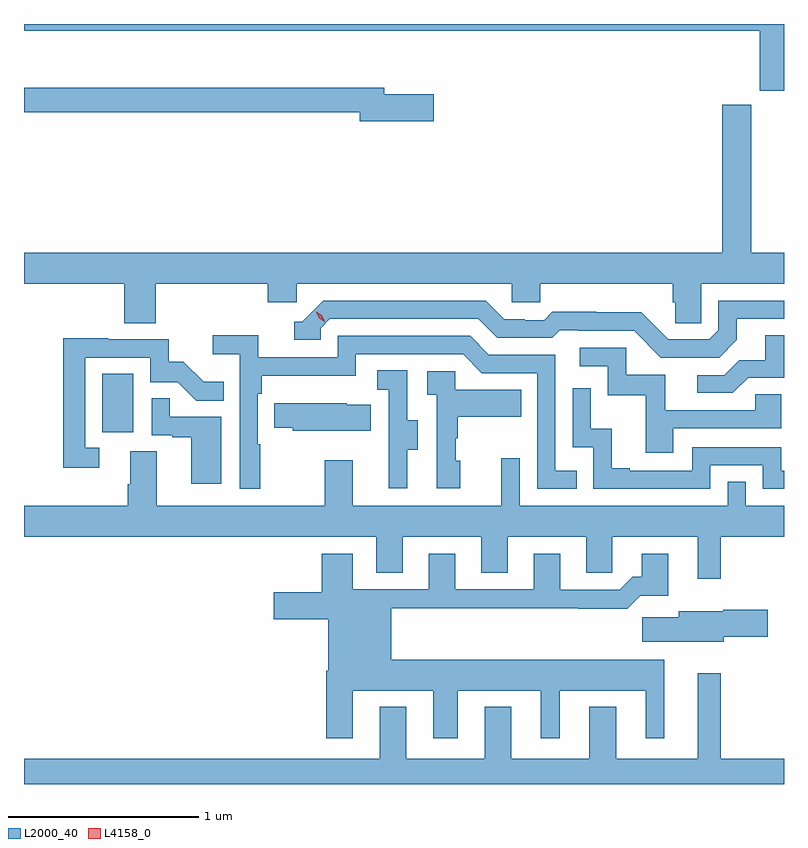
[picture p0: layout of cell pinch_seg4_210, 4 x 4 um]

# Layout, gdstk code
import gdstk
lib = gdstk.Library(unit=1e-6, precision=1e-09)
def R(c, l, rs):  # rectangles x0, y0, x1, y1
    for r in rs: c.add(gdstk.rectangle(r[:2], r[2:], *l))
def P(c, l, *ps):  # polygons
    for p in ps: c.add(gdstk.Polygon(p, *l))
L2000_40 = (2000, 40)
L4158_0 = (4158, 0)

pinch_seg4_210 = lib.new_cell('pinch_seg4_210')
R(pinch_seg4_210, L2000_40, [(1008.698,822.678,1008.862,822.985)])
P(pinch_seg4_210, L2000_40, [(1012.287,824.827),(1008.287,824.827),(1008.287,824.792),(1012.16,824.792),(1012.16,824.475),(1012.287,824.475)],
  [(1010.443,824.457),(1010.182,824.457),(1010.182,824.491),(1008.287,824.491),(1008.287,824.362),(1010.054,824.362),(1010.054,824.315),(1010.443,824.315)],
  [(1008.98,823.46),(1009.571,823.46),(1009.571,823.362),(1009.722,823.362),(1009.722,823.46),(1010.853,823.46),(1010.853,823.362),(1011.003,823.362),(1011.003,823.46),(1011.701,823.46),(1011.701,823.362),(1011.715,823.362),(1011.715,823.252),(1011.852,823.252),(1011.852,823.46),(1012.287,823.46),(1012.287,823.624),(1012.114,823.624),(1012.114,824.403),(1011.962,824.403),(1011.962,823.624),(1008.287,823.624),(1008.287,823.46),(1008.815,823.46),(1008.815,823.252),(1008.98,823.252)],
  [(1012.039,823.165),(1012.039,823.275),(1012.287,823.275),(1012.287,823.371),(1011.942,823.371),(1011.942,823.215),(1011.894,823.167),(1011.678,823.167),(1011.536,823.309),(1011.3,823.309),(1011.3,823.312),(1011.067,823.312),(1011.025,823.269),(1010.922,823.269),(1010.922,823.272),(1010.815,823.272),(1010.716,823.371),(1009.863,823.371),(1009.752,823.26),(1009.709,823.26),(1009.709,823.164),(1009.848,823.164),(1009.848,823.227),(1009.896,823.275),(1010.679,823.275),(1010.778,823.176),(1011.067,823.176),(1011.106,823.215),(1011.205,823.215),(1011.205,823.212),(1011.498,823.212),(1011.639,823.071),(1011.945,823.071)],
  [(1009.531,822.614),(1009.518,822.614),(1009.518,822.881),(1009.538,822.881),(1009.538,822.977),(1010.034,822.977),(1010.034,823.089),(1010.598,823.089),(1010.697,822.99),(1010.988,822.99),(1010.988,822.381),(1011.197,822.381),(1011.197,822.477),(1011.084,822.477),(1011.084,823.086),(1010.734,823.086),(1010.635,823.185),(1009.938,823.185),(1009.938,823.074),(1009.52,823.074),(1009.52,823.19),(1009.281,823.19),(1009.281,823.088),(1009.422,823.088),(1009.422,822.381),(1009.531,822.381)],
  [(1012.099,822.966),(1012.287,822.966),(1012.287,823.19),(1012.187,823.19),(1012.187,823.058),(1012.052,823.058),(1011.972,822.978),(1011.831,822.978),(1011.831,822.885),(1012.018,822.885)],
  [(1008.682,822.597),(1008.609,822.597),(1008.609,823.071),(1008.951,823.071),(1008.951,822.942),(1009.095,822.942),(1009.193,822.844),(1009.337,822.844),(1009.337,822.943),(1009.233,822.943),(1009.126,823.05),(1009.05,823.05),(1009.05,823.167),(1008.731,823.167),(1008.731,823.172),(1008.493,823.172),(1008.493,822.492),(1008.682,822.492)],
  [(1011.703,822.699),(1012.272,822.699),(1012.272,822.879),(1012.135,822.879),(1012.135,822.795),(1011.661,822.795),(1011.661,822.981),(1011.456,822.981),(1011.456,823.122),(1011.213,823.122),(1011.213,823.026),(1011.36,823.026),(1011.36,822.873),(1011.559,822.873),(1011.559,822.57),(1011.703,822.57)],
  [(1010.305,822.586),(1010.359,822.586),(1010.359,822.741),(1010.304,822.741),(1010.304,823.004),(1010.145,823.004),(1010.145,822.901),(1010.208,822.901),(1010.208,822.597),(1010.207,822.597),(1010.207,822.384),(1010.305,822.384)],
  [(1010.584,822.528),(1010.559,822.528),(1010.559,822.647),(1010.569,822.647),(1010.569,822.761),(1010.903,822.761),(1010.903,822.901),(1010.556,822.901),(1010.556,822.999),(1010.409,822.999),(1010.409,822.875),(1010.46,822.875),(1010.46,822.384),(1010.584,822.384)],
  [(1011.9,822.504),(1012.176,822.504),(1012.176,822.381),(1012.287,822.381),(1012.287,822.477),(1012.272,822.477),(1012.272,822.6),(1011.804,822.6),(1011.804,822.477),(1011.475,822.477),(1011.475,822.49),(1011.38,822.49),(1011.38,822.698),(1011.27,822.698),(1011.27,822.91),(1011.174,822.91),(1011.174,822.6),(1011.282,822.6),(1011.282,822.381),(1011.9,822.381)],
  [(1009.324,822.759),(1009.055,822.759),(1009.055,822.857),(1008.96,822.857),(1008.96,822.663),(1009.067,822.663),(1009.067,822.651),(1009.166,822.651),(1009.166,822.408),(1009.324,822.408)],
  [(1010.111,822.823),(1009.986,822.823),(1009.986,822.832),(1009.603,822.832),(1009.603,822.703),(1009.701,822.703),(1009.701,822.686),(1010.111,822.686)],
  [(1011.955,822.128),(1012.287,822.128),(1012.287,822.292),(1012.086,822.292),(1012.086,822.419),(1011.99,822.419),(1011.99,822.292),(1010.895,822.292),(1010.895,822.541),(1010.798,822.541),(1010.798,822.292),(1010.017,822.292),(1010.017,822.532),(1009.87,822.532),(1009.87,822.292),(1008.985,822.292),(1008.985,822.578),(1008.845,822.578),(1008.845,822.404),(1008.833,822.404),(1008.833,822.292),(1008.287,822.292),(1008.287,822.128),(1010.141,822.128),(1010.141,821.938),(1010.281,821.938),(1010.281,822.128),(1010.693,822.128),(1010.693,821.938),(1010.833,821.938),(1010.833,822.128),(1011.245,822.128),(1011.245,821.938),(1011.384,821.938),(1011.384,822.128),(1011.833,822.128),(1011.833,821.907),(1011.955,821.907)],
  [(1010.017,821.318),(1010.441,821.318),(1010.441,821.067),(1010.569,821.067),(1010.569,821.318),(1011.008,821.318),(1011.008,821.067),(1011.106,821.067),(1011.106,821.318),(1011.56,821.318),(1011.56,821.067),(1011.658,821.067),(1011.658,821.482),(1010.221,821.482),(1010.221,821.752),(1011.205,821.752),(1011.205,821.75),(1011.461,821.75),(1011.53,821.819),(1011.679,821.819),(1011.679,822.04),(1011.539,822.04),(1011.539,821.917),(1011.49,821.917),(1011.423,821.85),(1011.109,821.85),(1011.109,822.04),(1010.969,822.04),(1010.969,821.853),(1010.557,821.853),(1010.557,822.04),(1010.417,822.04),(1010.417,821.853),(1010.017,821.853),(1010.017,822.04),(1009.853,822.04),(1009.853,821.835),(1009.602,821.835),(1009.602,821.693),(1009.889,821.693),(1009.889,821.422),(1009.877,821.422),(1009.877,821.067),(1010.017,821.067)],
  [(1011.97,821.603),(1012.201,821.603),(1012.201,821.745),(1011.966,821.745),(1011.966,821.737),(1011.734,821.737),(1011.734,821.705),(1011.54,821.705),(1011.54,821.576),(1011.97,821.576)],
  [(1012.287,820.96),(1011.955,820.96),(1011.955,821.41),(1011.833,821.41),(1011.833,820.96),(1011.403,820.96),(1011.403,821.233),(1011.263,821.233),(1011.263,820.96),(1010.851,820.96),(1010.851,821.233),(1010.711,821.233),(1010.711,820.96),(1010.299,820.96),(1010.299,821.233),(1010.159,821.233),(1010.159,820.96),(1008.287,820.96),(1008.287,820.827),(1012.287,820.827)])
P(pinch_seg4_210, L4158_0, [(1009.871,823.26),(1009.84,823.279),(1009.824,823.312),(1009.824,823.312),(1009.824,823.312),(1009.855,823.293),(1009.871,823.26),(1009.871,823.26)])

lib.write_gds('pinch_seg4_210.gds')
